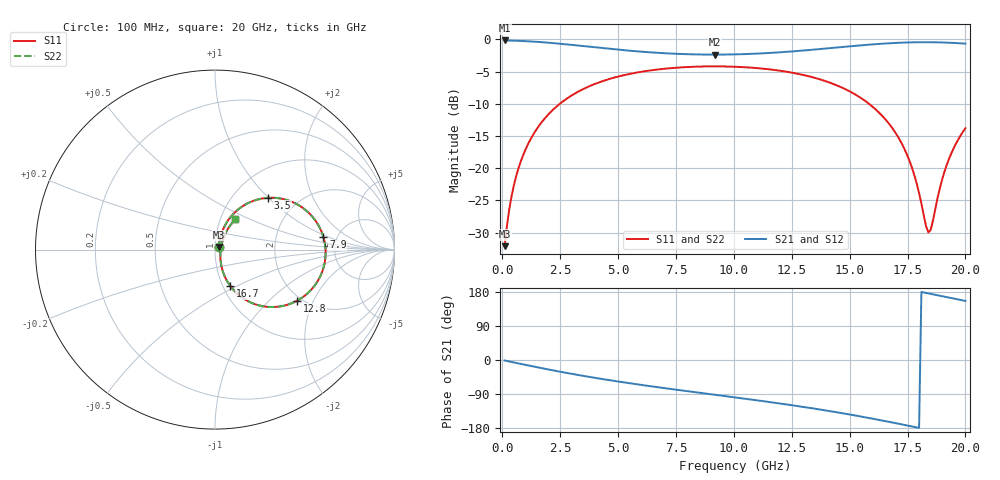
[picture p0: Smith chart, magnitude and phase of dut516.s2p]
! Touchstone file exported from HFSS 2026.1.0
!  File:  C:/ffzhzh/LocalFiles/Ansys_Project_Files/temp_train_TSV_RDL_516_1783109825_53076.aedt
!  Generated:  04:28:29 AM Jul  4, 2026
!  Design:  TSV_RDL
!  Project:  temp_train_TSV_RDL_516_1783109825_53076
! Variables:
!  h_bsmrdl = 4.49um
!  h_ox = 20um
!  h_rdl = 5um
!  h_sub = 58.31um
!  h_tmrdl = 5.02um
!  h_tsv = 58.31um
!  h_via = 3um
!  l_bsmrdl = 665.7um
!  l_sub = 3527.54um
!  l_tmrdl = 252.91um
!  m_sub = 200um
!  pitch = 47.28um
!  r_tsv = 3.22um
!  s_tmrdl = 10um
!  w_bsmrdl = 12.6um
!  w_sub = 500um
!  w_tmrdl = 27um
!  x_tsv_center1 = 266.41um
!  x_tsv_center2 = 944.71um
!  x_tsv_center3 = 1224.62um
!  x_tsv_center4 = 1902.92um
!  x_tsv_center5 = 2182.83um
!  x_tsv_center6 = 2861.13um
# GHz S MA R 50.000000
! Terminal data exported
! Port[1] = TM_RDL1_1_T1
! Port[2] = TM_RDL5_1_T1
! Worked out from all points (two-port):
!   200 points, 100 MHz to 20 GHz, reference 50 ohm
!   highest |S21| = -0.18 dB at 100 MHz (marker M1); lowest = -2.4 dB at 9.2 GHz (marker M2)
!   |S21| within 3 dB of the highest: start of sweep to end of sweep
!   lowest |S11| = -32.1 dB at 100 MHz (marker M3), VSWR 1.05, Z = 52.1 + j1.47 ohm
!   |S11| at or under -10 dB: start of sweep to 2.489 GHz; 15.83 GHz to end of sweep
!   |S22| runs from -32.1 to -4.2 dB; largest |S21 - S12| = 2.6e-14
!   S11 on the Smith chart (normalised r, x): 100 MHz: 1.04, +0.03; 3.5 GHz: 1.43, +0.99; 7.9 GHz: 3.90, +0.85; 12.8 GHz: 1.89, -1.51; 16.7 GHz: 1.08, -0.46; 20 GHz: 1.18, +0.42
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0.1  0.02479 34.8  0.9799 -1.3  0.9799 -1.3  0.02479 34.8
! Gamma 0 0 0 0
! Port Impedance 50 0 50 0
0.3  0.04774 60.0  0.9781 -3.9  0.9781 -3.9  0.04774 60.0
0.5  0.07357 66.4  0.9758 -6.5  0.9758 -6.5  0.07357 66.4
1.1  0.1521 67.3  0.9659 -14.1  0.9659 -14.1  0.1521 67.3
2.1  0.2739 58.7  0.9379 -26.3  0.9379 -26.3  0.2739 58.7
3.5  0.4114 44.5  0.8858 -41.9  0.8858 -41.9  0.4114 44.5
5  0.5137 30.4  0.8313 -56.8  0.8313 -56.8  0.5137 30.4
6.8  0.5857 15.2  0.7838 -72.6  0.7838 -72.6  0.5857 15.1
7.9  0.6081 6.5  0.7674 -81.5  0.7674 -81.5  0.6081 6.5
9.2  0.6167 -3.4  0.7608 -91.9  0.7608 -91.9  0.6167 -3.5
10.1  0.6118 -10.3  0.7644 -99.1  0.7644 -99.1  0.6118 -10.3
12.8  0.5383 -32.0  0.8128 -122.0  0.8128 -122.0  0.5383 -32.0
13.4  0.5077 -37.2  0.8301 -127.6  0.8301 -127.6  0.5077 -37.2
15.3  0.3679 -54.7  0.8921 -147.0  0.8921 -147.0  0.3679 -54.7
16.7  0.2212 -67.1  0.9318 -163.2  0.9318 -163.2  0.2212 -67.2
17.6  0.1122 -69.7  0.9468 -174.2  0.9468 -174.2  0.1122 -69.8
17.9  0.07565 -65.1  0.9491 -178.0  0.9491 -178.0  0.07562 -65.1
18.4  0.03169 -11.3  0.9499 175.7  0.9499 175.7  0.03162 -11.3
18.5  0.03315 10.9  0.9495 174.5  0.9495 174.5  0.03308 10.9
18.9  0.07027 51.4  0.9465 169.5  0.9465 169.5  0.07023 51.4
19.2  0.1065 57.2  0.9426 165.7  0.9426 165.7  0.1065 57.2
20  0.204 56.0  0.926 155.9  0.926 155.9  0.204 56.0
